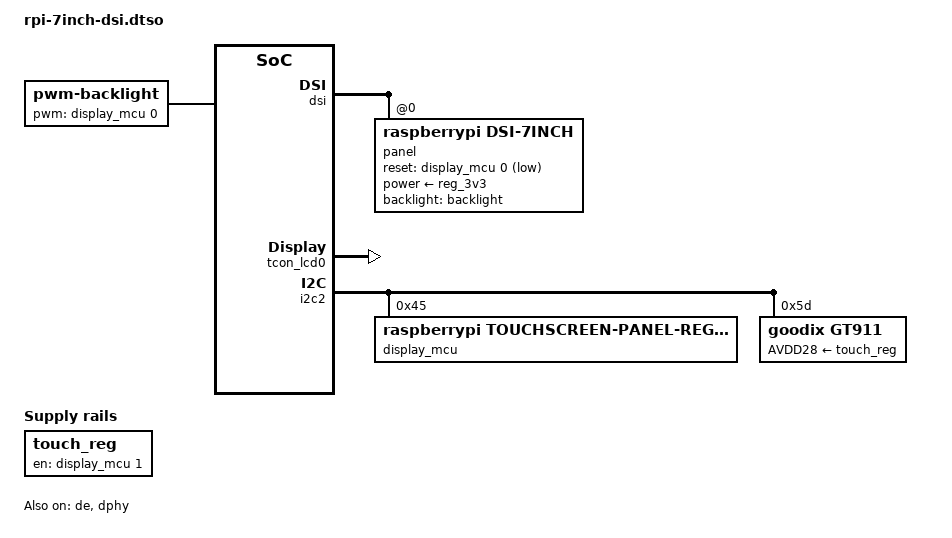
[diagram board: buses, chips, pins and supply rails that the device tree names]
// SPDX-License-Identifier: (GPL-2.0+ OR MIT)
/*
 * Raspberry Pi 7" Touch Display 2 on the Tess DSI connector: ILI9881C
 * panel, display MCU (power, reset, backlight PWM) and Goodix GT911
 * touchscreen on I2C2.
 *
 * Needs a base device tree built with symbols (-@). Applied by U-Boot:
 * extlinux.conf "fdtoverlays" in the main image, "fdt apply" in the
 * flasher boot script.
 */

/dts-v1/;
/plugin/;

#include <dt-bindings/gpio/gpio.h>

&{/} {
	backlight: backlight {
		compatible = "pwm-backlight";
		pwms = <&display_mcu 0 255 0>;
		brightness-levels = <0 255>;
		num-interpolated-steps = <255>;
		default-brightness-level = <255>;
	};

	touch_reg: regulator-touch {
		compatible = "regulator-fixed";
		regulator-name = "touch_reg_1";
		gpio = <&display_mcu 1 GPIO_ACTIVE_HIGH>;
		startup-delay-us = <50000>;
		enable-active-high;
		regulator-boot-on;
	};
};

&de {
	status = "okay";
};

&dphy {
	status = "okay";
};

&dsi {
	#address-cells = <1>;
	#size-cells = <0>;
	vcc-dsi-supply = <&reg_3v3>;
	pinctrl-names = "default";
	pinctrl-0 = <&dsi_4lane_pins>;
	status = "okay";

	panel@0 {
		reg = <0>;
		compatible = "raspberrypi,dsi-7inch";
		reset-gpios = <&display_mcu 0 GPIO_ACTIVE_LOW>;
		backlight = <&backlight>;
		power-supply = <&reg_3v3>;
	};
};

&tcon_lcd0 {
	status = "okay";
};

&i2c2 {
	#address-cells = <1>;
	#size-cells = <0>;

	display_mcu: display_mcu@45 {
		compatible = "raspberrypi,touchscreen-panel-regulator-v2";
		reg = <0x45>;
		gpio-controller;
		#gpio-cells = <2>;
		#pwm-cells = <3>;
	};

	gt911@5d {
		compatible = "goodix,gt911";
		reg = <0x5d>;
		AVDD28-supply = <&touch_reg>;
		touchscreen-size-x = <720>;
		touchscreen-size-y = <1280>;
		touchscreen-x-mm = <90>;
		touchscreen-y-mm = <151>;
	};
};
